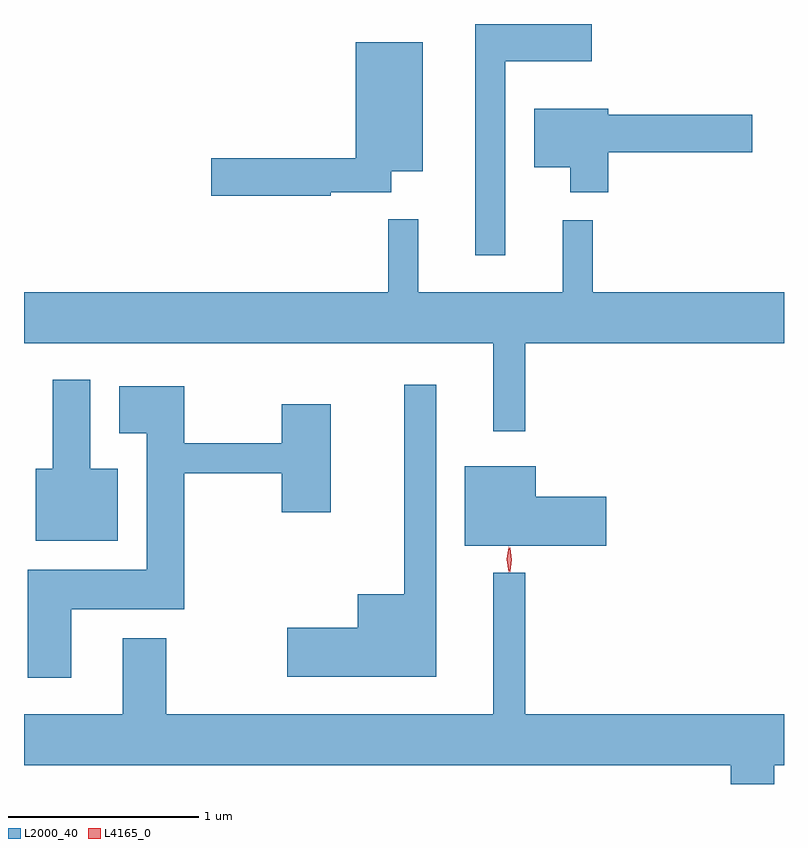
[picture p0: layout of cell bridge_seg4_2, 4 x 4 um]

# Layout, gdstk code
import gdstk
lib = gdstk.Library(unit=1e-6, precision=1e-09)
def P(c, l, *ps):  # polygons
    for p in ps: c.add(gdstk.Polygon(p, *l))
L2000_40 = (2000, 40)
L4165_0 = (4165, 0)

bridge_seg4_2 = lib.new_cell('bridge_seg4_2')
P(bridge_seg4_2, L2000_40, [(1182.514,1389.461),(1182.969,1389.461),(1182.969,1389.656),(1182.356,1389.656),(1182.356,1388.438),(1182.514,1388.438)],
  [(1181.594,1388.771),(1181.914,1388.771),(1181.914,1388.881),(1182.079,1388.881),(1182.079,1389.559),(1181.726,1389.559),(1181.726,1388.949),(1180.966,1388.949),(1180.966,1388.751),(1181.594,1388.751)],
  [(1183.054,1388.981),(1183.814,1388.981),(1183.814,1389.179),(1183.054,1389.179),(1183.054,1389.209),(1182.666,1389.209),(1182.666,1388.901),(1182.856,1388.901),(1182.856,1388.771),(1183.054,1388.771)],
  [(1182.619,1387.976),(1183.98,1387.976),(1183.98,1388.244),(1182.974,1388.244),(1182.974,1388.623),(1182.816,1388.623),(1182.816,1388.244),(1182.054,1388.244),(1182.054,1388.628),(1181.896,1388.628),(1181.896,1388.244),(1179.98,1388.244),(1179.98,1387.976),(1182.451,1387.976),(1182.451,1387.513),(1182.619,1387.513)],
  [(1180.474,1387.314),(1180.329,1387.314),(1180.329,1387.784),(1180.131,1387.784),(1180.131,1387.314),(1180.041,1387.314),(1180.041,1386.936),(1180.474,1386.936)],
  [(1182.149,1387.758),(1181.981,1387.758),(1181.981,1386.654),(1181.736,1386.654),(1181.736,1386.479),(1181.366,1386.479),(1181.366,1386.221),(1182.149,1386.221)],
  [(1180.229,1386.576),(1180.824,1386.576),(1180.824,1387.291),(1181.336,1387.291),(1181.336,1387.086),(1181.594,1387.086),(1181.594,1387.654),(1181.336,1387.654),(1181.336,1387.449),(1180.824,1387.449),(1180.824,1387.749),(1180.481,1387.749),(1180.481,1387.501),(1180.626,1387.501),(1180.626,1386.784),(1180.001,1386.784),(1180.001,1386.216),(1180.229,1386.216)],
  [(1183.044,1387.169),(1182.674,1387.169),(1182.674,1387.329),(1182.301,1387.329),(1182.301,1386.911),(1183.044,1386.911)],
  [(1183.701,1385.656),(1183.929,1385.656),(1183.929,1385.756),(1183.98,1385.756),(1183.98,1386.024),(1182.619,1386.024),(1182.619,1386.768),(1182.451,1386.768),(1182.451,1386.024),(1180.729,1386.024),(1180.729,1386.424),(1180.501,1386.424),(1180.501,1386.024),(1179.98,1386.024),(1179.98,1385.756),(1183.701,1385.756)])
P(bridge_seg4_2, L4165_0, [(1182.531,1386.77),(1182.522,1386.838),(1182.53,1386.906),(1182.531,1386.906),(1182.532,1386.906),(1182.541,1386.838),(1182.532,1386.77),(1182.532,1386.77)],
  [(1182.537,1386.773),(1182.537,1386.773),(1182.527,1386.836),(1182.537,1386.899),(1182.537,1386.9),(1182.538,1386.899),(1182.547,1386.836),(1182.538,1386.773)])

lib.write_gds('bridge_seg4_2.gds')
